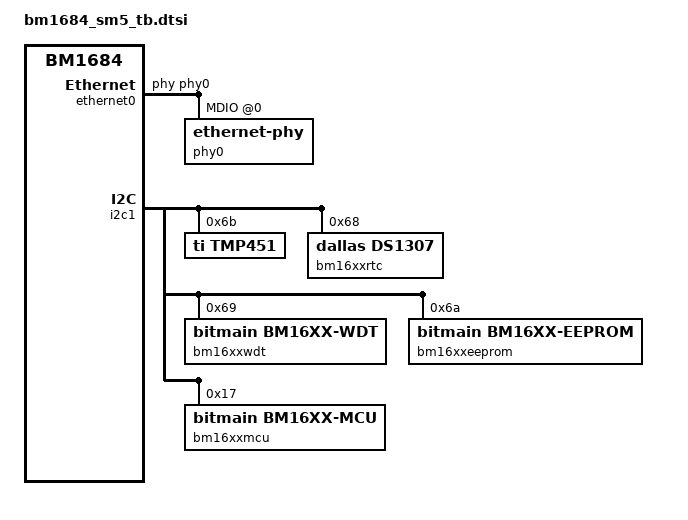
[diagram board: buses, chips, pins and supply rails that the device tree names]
&ethernet0 {
	phy-handle = <&phy0>;

	mdio0 {
		#address-cells = <1>;
		#size-cells = <0>;
		compatible = "snps,dwmac-mdio";
		phy0: ethernet-phy@0 {
			marvell,reg-init = <18 0x14 0 0x0006>,
					   <18 0x14 0 0x8006>;
		};
	};
};

&i2c1 {
	/delete-node/ tmp451@4c;

	tmp451: tmp451@6b {
		compatible = "ti,tmp451";
		reg = <0x6b>;
		#thermal-sensor-cells = <1>;
	};

	bm16xxrtc@68 {
		compatible = "dallas,ds1307";
		reg = <0x68>;
	};

	bm16xxwdt@69 {
		compatible = "bitmain,bm16xx-wdt";
		reg = <0x69>;
		flavor = "strict";
	};

	bm16xxeeprom@6a {
		compatible = "bitmain,bm16xx-eeprom";
		reg = <0x6a>;
		size = <3072>;

		#address-cells = <1>;
		#size-cells = <1>;
		sn: sn@0000 {
			reg = <0x0000 17>;
		};
		mac0: mac0@0020 {
			reg = <0x0020 6>;
		};
		mac1: mac1@0040 {
			reg = <0x0040 6>;
		};
	};

	bm16xxmcu@17 {
		compatible = "bitmain,bm16xx-mcu";
		reg = <0x17>;

		nvmem-cells = <&sn>, <&mac0>, <&mac1>;
		nvmem-cell-names = "sn", "mac0", "mac1";
	};
};

&uart2 {
	pinctrl-names = "default";
	pinctrl-0 = <&uart2_acquire>;
};
